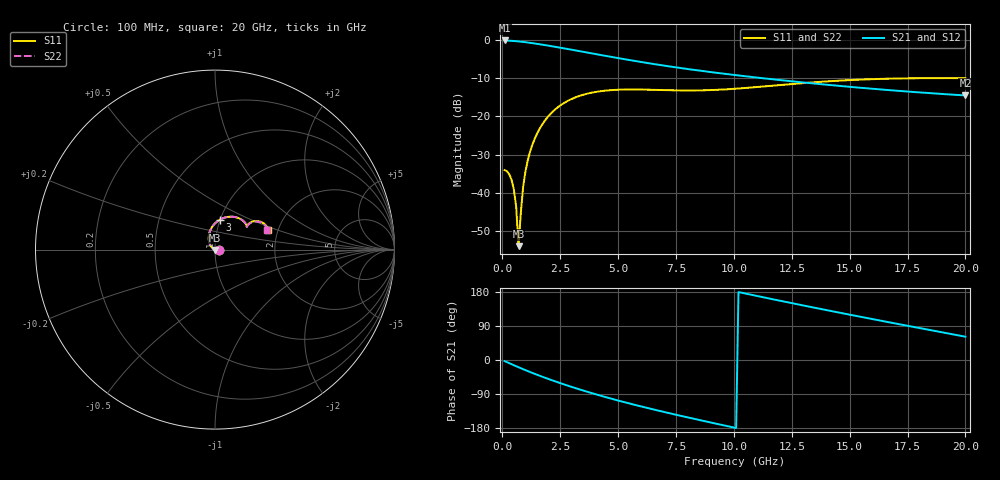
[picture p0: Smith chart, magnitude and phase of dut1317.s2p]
! Touchstone file exported from HFSS 2024.1.0
!  File:  C:/UserFiles/LocalFiles/RDL_TSV_Batchsim/temp_RDL_TSV_1317_1780386169.aedt
!  Generated:  04:00:27 PM Jun  2, 2026
!  Design:  RDL_TSV
!  Project:  temp_RDL_TSV_1317_1780386169
!  Setup:  Setup1
!  Solution:  Sweep
! Variables:
!  dtsv = 14.17um
!  hbump = 3um
!  htsv = 95.55um
!  ldown = 677.49um
!  lrdl = 536.14um
!  p = 40
!  p1 = 57.08um
!  rhole = 10um
!  subl = 4177.03um
!  t = 450um
!  tdown = 3.43um
!  trdl = 4.25um
!  viad = 10um
!  wdown = 15.45um
!  wrdl = 28.3um
!  xbump = 18um
# GHz S MA R 50.000000
! Terminal data exported
! Port[1] = TM1_1_T1
! Port[2] = TM1_4_T1
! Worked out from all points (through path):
!   200 points, 100 MHz to 20 GHz, reference 50 ohm
!   highest |S21| = -0.18 dB at 100 MHz (marker M1); lowest = -14.5 dB at 20 GHz (marker M2)
!   group delay of S21, straight-line fit = 38.9 ps
!   lowest |S11| = -53.9 dB at 700 MHz (marker M3), VSWR 1.00, Z = 50 - j0.201 ohm
!   |S11| at or under -10 dB: start of sweep to end of sweep
!   |S22| runs from -54.0 to -10.1 dB; largest |S21 - S12| = 9.5e-15
!   S11 on the Smith chart (normalised r, x): 100 MHz: 1.04, -0.00; 3 GHz: 1.00, +0.34; 20 GHz: 1.77, +0.44
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0.1  0.01983 -2.5  0.9791 -2.8  0.9791 -2.8  0.01983 -2.5
! Gamma 0 0 0 0
! Port Impedance 50 0 50 0
0.3  0.01753 -11.4  0.973 -8.4  0.973 -8.4  0.01753 -11.4
0.4  0.0148 -17.4  0.9687 -11.1  0.9687 -11.1  0.0148 -17.4
0.5  0.0111 -24.6  0.9637 -13.8  0.9637 -13.8  0.01109 -24.6
0.6  0.006574 -35.9  0.958 -16.5  0.958 -16.5  0.006563 -35.9
0.7  0.002014 -87.7  0.9515 -19.1  0.9515 -19.1  0.002004 -87.9
0.8  0.005472 169.9  0.9445 -21.7  0.9445 -21.7  0.005487 169.8
0.9  0.01198 155.0  0.9369 -24.3  0.9369 -24.3  0.012 155.0
1  0.01909 147.6  0.9289 -26.8  0.9289 -26.8  0.01911 147.5
1.1  0.02663 142.0  0.9205 -29.3  0.9205 -29.3  0.02666 141.9
1.3  0.04263 132.7  0.9028 -34.2  0.9028 -34.2  0.04268 132.6
1.6  0.06778 120.9  0.8748 -41.3  0.8748 -41.3  0.06785 120.9
2  0.101 107.4  0.8364 -50.3  0.8364 -50.3  0.1011 107.4
3  0.1687 80.8  0.7409 -71.1  0.7409 -71.1  0.1689 80.8
3.5  0.1916 70.6  0.6956 -80.7  0.6956 -80.7  0.1919 70.5
5  0.2225 49.1  0.576 -106.9  0.576 -106.9  0.223 48.9
6.8  0.2207 37.5  0.4686 -134.5  0.4686 -134.5  0.2214 37.2
8.3  0.2177 35.8  0.4033 -155.5  0.4033 -155.5  0.2181 35.4
10.1  0.2296 37.3  0.3445 -179.5  0.3445 -179.5  0.2293 36.7
13.4  0.2776 35.0  0.2692 138.9  0.2692 138.9  0.2758 34.5
16.7  0.3103 27.4  0.2199 99.6  0.2199 99.6  0.3075 27.0
20  0.3151 20.8  0.1873 61.5  0.1873 61.5  0.3119 20.5
